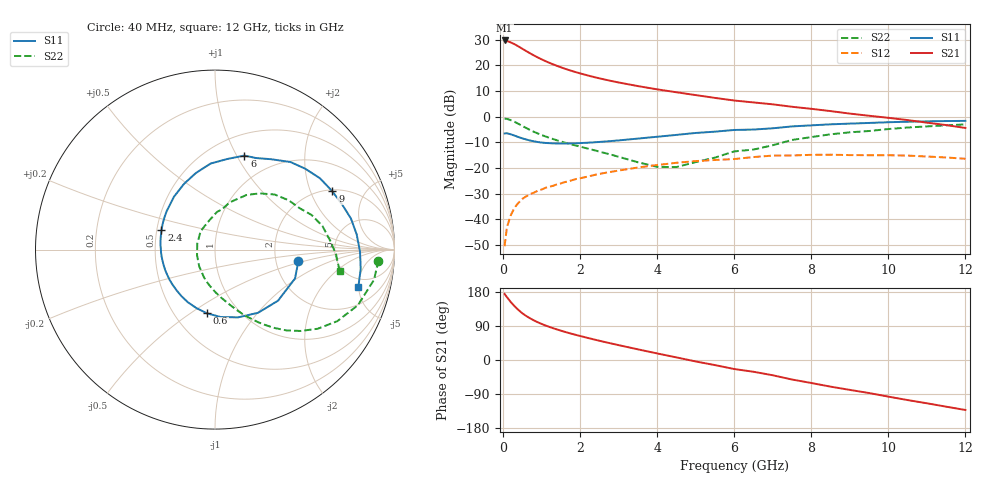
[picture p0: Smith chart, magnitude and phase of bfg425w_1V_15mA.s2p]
! Filename: 115bfg425.001
! BFG425W Field C1
! V1=8.654E-001V,V2=1.000E+000V, I1=2.240E-004A, I2=1.501E-002A
# GHz  S  MA  R 50
!  S11  S21  S12  S22
!Freq(GHz)  Mag  Ang  Mag  Ang  Mag  Ang  Mag  Ang
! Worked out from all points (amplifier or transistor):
!   44 points, 40 MHz to 12 GHz, reference 50 ohm
!   highest |S21| = 29.6 dB at 40 MHz (marker M1)
!   |S21| within 3 dB of that: start of sweep to 474.3 MHz
!   unconditionally stable (mu >= 1): 1.434 GHz to end of sweep
!   at 700 MHz: K = 0.69, MSG = 27.4 dB, |S12| = -30.2 dB
!   at 2.4 GHz: K = 1.15, MAG = 16.6 dB, |S12| = -22.6 dB
!   at 12 GHz: K = 1.36, MAG = 2.4 dB, |S12| = -16.4 dB
!   S11 on the Smith chart (normalised r, x): 40 MHz: 2.68, -0.44; 600 MHz: 0.72, -0.58; 2.4 GHz: 0.53, +0.13; 6 GHz: 0.72, +1.08; 9 GHz: 2.07, +2.88; 12 GHz: 3.84, -4.97
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0.04  0.469 -7.9  30.36 174.1  0.003 76.3  0.912 -3.9
0.1  0.474 -19.8  29.61 166.0  0.007 81.6  0.902 -10.7
0.2  0.452 -39.0  27.79 152.8  0.012 74.0  0.854 -21.3
0.3  0.426 -55.7  25.61 141.8  0.017 68.6  0.79 -30.3
0.4  0.399 -71.1  23.21 131.9  0.021 63.9  0.722 -37.7
0.5  0.377 -85.2  20.93 123.3  0.025 60.3  0.657 -43.6
0.6  0.358 -97.0  18.87 116.2  0.028 57.9  0.6 -48.6
0.7  0.342 -107.6  17.07 110.1  0.031 55.9  0.549 -52.7
0.9  0.32 -125.5  14.19 99.6  0.036 53.4  0.47 -59.3
1  0.312 -133.2  13.03 95.2  0.038 52.5  0.438 -62.1
1.2  0.304 -146.4  11.16 87.4  0.043 50.8  0.387 -67.1
1.6  0.299 -168.0  8.59 74.4  0.053 47.8  0.312 -75.8
2.2  0.31 167.4  6.316 58.2  0.068 42.0  0.238 -89.3
2.4  0.317 160.3  5.793 53.2  0.074 39.9  0.218 -94.2
3.5  0.373 127.8  3.924 28.1  0.102 25.5  0.129 -132.9
4.5  0.44 104.0  2.976 6.8  0.126 10.5  0.104 162.0
6  0.549 72.7  2.057 -23.8  0.149 -13.9  0.21 87.0
6.5  0.559 65.8  1.886 -31.0  0.163 -17.8  0.228 80.2
8.5  0.707 34.2  1.28 -70.3  0.181 -53.7  0.452 42.8
9  0.73 26.4  1.144 -78.9  0.178 -61.6  0.494 33.8
10.5  0.794 6.1  0.855 -105.7  0.174 -87.2  0.613 12.4
12  0.825 -14.5  0.6 -131.9  0.151 -115.2  0.705 -9.9
